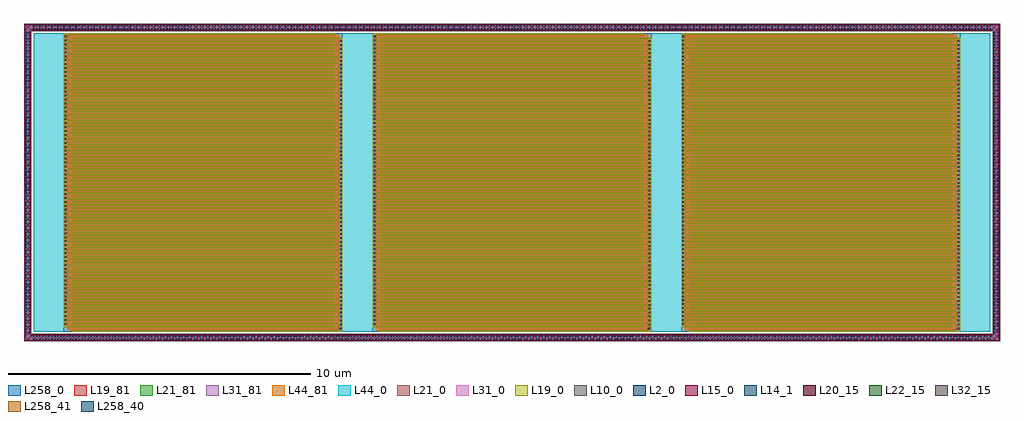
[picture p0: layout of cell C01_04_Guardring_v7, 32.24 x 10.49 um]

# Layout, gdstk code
from math import pi, radians
import gdstk
lib = gdstk.Library(unit=1e-6, precision=1e-09)
def R(c, l, rs):  # rectangles x0, y0, x1, y1
    for r in rs: c.add(gdstk.rectangle(r[:2], r[2:], *l))
def A(c, l, x, y, w, h, nx, ny, dx, dy):  # array of equal rectangles
    R(c, l, [(x+i*dx, y+j*dy, x+i*dx+w, y+j*dy+h) for i in range(nx) for j in range(ny)])
L2_0 = (2, 0)
L10_0 = (10, 0)
L14_1 = (14, 1)
L15_0 = (15, 0)
L19_0 = (19, 0)
L19_81 = (19, 81)
L20_15 = (20, 15)
L21_0 = (21, 0)
L21_81 = (21, 81)
L22_15 = (22, 15)
L31_0 = (31, 0)
L31_81 = (31, 81)
L32_15 = (32, 15)
L44_0 = (44, 0)
L44_81 = (44, 81)
L258_0 = (258, 0)
L258_40 = (258, 40)
L258_41 = (258, 41)

c01_04_guardring_v7_srf_ = lib.new_cell('C01_04_Guardring_v7:SRF_Array:SRF_HDVNCAP:SRF_FingerArray:SRF_FingerPair')
R(c01_04_guardring_v7_srf_, L19_0, [(0.1,-0.15,0.15,8.7), (0,0,0.05,8.85)])
R(c01_04_guardring_v7_srf_, L21_0, [(0.1,-0.15,0.15,8.7), (0,0,0.05,8.85)])
R(c01_04_guardring_v7_srf_, L31_0, [(0.1,-0.15,0.15,8.7), (0,0,0.05,8.85)])
R(c01_04_guardring_v7_srf_, L44_0, [(0.1,-0.15,0.15,8.7), (0,0,0.05,8.85)])

c_c01_04_guardring_v7_srf_ = lib.new_cell('C01_04_Guardring_v7:SRF_Array:SRF_HDVNCAP:SRF_FingerArray')
c_c01_04_guardring_v7_srf_.add(gdstk.Reference(c01_04_guardring_v7_srf_, (0,0)))
c_c01_04_guardring_v7_srf_.add(gdstk.Reference(c01_04_guardring_v7_srf_, (0.2,0)))
c_c01_04_guardring_v7_srf_.add(gdstk.Reference(c01_04_guardring_v7_srf_, (0.4,0)))
c_c01_04_guardring_v7_srf_.add(gdstk.Reference(c01_04_guardring_v7_srf_, (0.6,0)))
c_c01_04_guardring_v7_srf_.add(gdstk.Reference(c01_04_guardring_v7_srf_, (0.8,0)))
c_c01_04_guardring_v7_srf_.add(gdstk.Reference(c01_04_guardring_v7_srf_, (1,0)))
c_c01_04_guardring_v7_srf_.add(gdstk.Reference(c01_04_guardring_v7_srf_, (1.2,0)))
c_c01_04_guardring_v7_srf_.add(gdstk.Reference(c01_04_guardring_v7_srf_, (1.4,0)))
c_c01_04_guardring_v7_srf_.add(gdstk.Reference(c01_04_guardring_v7_srf_, (1.6,0)))
c_c01_04_guardring_v7_srf_.add(gdstk.Reference(c01_04_guardring_v7_srf_, (1.8,0)))
c_c01_04_guardring_v7_srf_.add(gdstk.Reference(c01_04_guardring_v7_srf_, (2,0)))
c_c01_04_guardring_v7_srf_.add(gdstk.Reference(c01_04_guardring_v7_srf_, (2.2,0)))
c_c01_04_guardring_v7_srf_.add(gdstk.Reference(c01_04_guardring_v7_srf_, (2.4,0)))
c_c01_04_guardring_v7_srf_.add(gdstk.Reference(c01_04_guardring_v7_srf_, (2.6,0)))
c_c01_04_guardring_v7_srf_.add(gdstk.Reference(c01_04_guardring_v7_srf_, (2.8,0)))
c_c01_04_guardring_v7_srf_.add(gdstk.Reference(c01_04_guardring_v7_srf_, (3,0)))
c_c01_04_guardring_v7_srf_.add(gdstk.Reference(c01_04_guardring_v7_srf_, (3.2,0)))
c_c01_04_guardring_v7_srf_.add(gdstk.Reference(c01_04_guardring_v7_srf_, (3.4,0)))
c_c01_04_guardring_v7_srf_.add(gdstk.Reference(c01_04_guardring_v7_srf_, (3.6,0)))
c_c01_04_guardring_v7_srf_.add(gdstk.Reference(c01_04_guardring_v7_srf_, (3.8,0)))
c_c01_04_guardring_v7_srf_.add(gdstk.Reference(c01_04_guardring_v7_srf_, (4,0)))
c_c01_04_guardring_v7_srf_.add(gdstk.Reference(c01_04_guardring_v7_srf_, (4.2,0)))
c_c01_04_guardring_v7_srf_.add(gdstk.Reference(c01_04_guardring_v7_srf_, (4.4,0)))
c_c01_04_guardring_v7_srf_.add(gdstk.Reference(c01_04_guardring_v7_srf_, (4.6,0)))
c_c01_04_guardring_v7_srf_.add(gdstk.Reference(c01_04_guardring_v7_srf_, (4.8,0)))
c_c01_04_guardring_v7_srf_.add(gdstk.Reference(c01_04_guardring_v7_srf_, (5,0)))
c_c01_04_guardring_v7_srf_.add(gdstk.Reference(c01_04_guardring_v7_srf_, (5.2,0)))
c_c01_04_guardring_v7_srf_.add(gdstk.Reference(c01_04_guardring_v7_srf_, (5.4,0)))
c_c01_04_guardring_v7_srf_.add(gdstk.Reference(c01_04_guardring_v7_srf_, (5.6,0)))
c_c01_04_guardring_v7_srf_.add(gdstk.Reference(c01_04_guardring_v7_srf_, (5.8,0)))
c_c01_04_guardring_v7_srf_.add(gdstk.Reference(c01_04_guardring_v7_srf_, (6,0)))
c_c01_04_guardring_v7_srf_.add(gdstk.Reference(c01_04_guardring_v7_srf_, (6.2,0)))
c_c01_04_guardring_v7_srf_.add(gdstk.Reference(c01_04_guardring_v7_srf_, (6.4,0)))
c_c01_04_guardring_v7_srf_.add(gdstk.Reference(c01_04_guardring_v7_srf_, (6.6,0)))
c_c01_04_guardring_v7_srf_.add(gdstk.Reference(c01_04_guardring_v7_srf_, (6.8,0)))
c_c01_04_guardring_v7_srf_.add(gdstk.Reference(c01_04_guardring_v7_srf_, (7,0)))
c_c01_04_guardring_v7_srf_.add(gdstk.Reference(c01_04_guardring_v7_srf_, (7.2,0)))
c_c01_04_guardring_v7_srf_.add(gdstk.Reference(c01_04_guardring_v7_srf_, (7.4,0)))
c_c01_04_guardring_v7_srf_.add(gdstk.Reference(c01_04_guardring_v7_srf_, (7.6,0)))
c_c01_04_guardring_v7_srf_.add(gdstk.Reference(c01_04_guardring_v7_srf_, (7.8,0)))
c_c01_04_guardring_v7_srf_.add(gdstk.Reference(c01_04_guardring_v7_srf_, (8,0)))
c_c01_04_guardring_v7_srf_.add(gdstk.Reference(c01_04_guardring_v7_srf_, (8.2,0)))
c_c01_04_guardring_v7_srf_.add(gdstk.Reference(c01_04_guardring_v7_srf_, (8.4,0)))
c_c01_04_guardring_v7_srf_.add(gdstk.Reference(c01_04_guardring_v7_srf_, (8.6,0)))
c_c01_04_guardring_v7_srf_.add(gdstk.Reference(c01_04_guardring_v7_srf_, (8.8,0)))
c_c01_04_guardring_v7_srf_.add(gdstk.Reference(c01_04_guardring_v7_srf_, (9,0)))
c_c01_04_guardring_v7_srf_.add(gdstk.Reference(c01_04_guardring_v7_srf_, (9.2,0)))
c_c01_04_guardring_v7_srf_.add(gdstk.Reference(c01_04_guardring_v7_srf_, (9.4,0)))

c_c01_04_guardring_v7_srf__ = lib.new_cell('C01_04_Guardring_v7:SRF_Array:SRF_HDVNCAP:SRF_Via0_PortA_Hrz:SRF_ViaM3M4')
R(c_c01_04_guardring_v7_srf__, L19_0, [(-0.032,0,9.572,0.05)])
A(c_c01_04_guardring_v7_srf__, L20_15, 0, 0, 0.05, 0.05, 74, 1, 0.13, 0)
R(c_c01_04_guardring_v7_srf__, L21_0, [(-0.032,0,9.572,0.05)])

c_c01_04_guardring_v7_srf___ = lib.new_cell('C01_04_Guardring_v7:SRF_Array:SRF_HDVNCAP:SRF_Via0_PortA_Hrz')
c_c01_04_guardring_v7_srf___.add(gdstk.Reference(c_c01_04_guardring_v7_srf__, (-4.77,-0.025)))

c_c01_04_guardring_v7_srf____ = lib.new_cell('C01_04_Guardring_v7:SRF_Array:SRF_HDVNCAP:SRF_Via1_PortA_Hrz:SRF_ViaM4M5')
R(c_c01_04_guardring_v7_srf____, L21_0, [(-0.032,0,9.572,0.05)])
A(c_c01_04_guardring_v7_srf____, L22_15, 0, 0, 0.05, 0.05, 74, 1, 0.13, 0)
R(c_c01_04_guardring_v7_srf____, L31_0, [(-0.032,0,9.572,0.05)])

c_c01_04_guardring_v7_srf_____ = lib.new_cell('C01_04_Guardring_v7:SRF_Array:SRF_HDVNCAP:SRF_Via1_PortA_Hrz')
c_c01_04_guardring_v7_srf_____.add(gdstk.Reference(c_c01_04_guardring_v7_srf____, (-4.77,-0.025)))

c_c01_04_guardring_v7_srf______ = lib.new_cell('C01_04_Guardring_v7:SRF_Array:SRF_HDVNCAP:SRF_Via2_PortA_Hrz:SRF_ViaM5M6')
R(c_c01_04_guardring_v7_srf______, L31_0, [(-0.032,0,9.572,0.05)])
A(c_c01_04_guardring_v7_srf______, L32_15, 0, 0, 0.05, 0.05, 74, 1, 0.13, 0)
R(c_c01_04_guardring_v7_srf______, L44_0, [(-0.032,0,9.572,0.05)])

c_c01_04_guardring_v7_srf_______ = lib.new_cell('C01_04_Guardring_v7:SRF_Array:SRF_HDVNCAP:SRF_Via2_PortA_Hrz')
c_c01_04_guardring_v7_srf_______.add(gdstk.Reference(c_c01_04_guardring_v7_srf______, (-4.77,-0.025)))

c_c01_04_guardring_v7_srf________ = lib.new_cell('C01_04_Guardring_v7:SRF_Array:SRF_HDVNCAP:SRF_Via0_PortB_Hrz:SRF_ViaM3M4')
R(c_c01_04_guardring_v7_srf________, L19_0, [(-0.032,0,9.572,0.05)])
A(c_c01_04_guardring_v7_srf________, L20_15, 0, 0, 0.05, 0.05, 74, 1, 0.13, 0)
R(c_c01_04_guardring_v7_srf________, L21_0, [(-0.032,0,9.572,0.05)])

c_c01_04_guardring_v7_srf_________ = lib.new_cell('C01_04_Guardring_v7:SRF_Array:SRF_HDVNCAP:SRF_Via0_PortB_Hrz')
c_c01_04_guardring_v7_srf_________.add(gdstk.Reference(c_c01_04_guardring_v7_srf________, (-4.77,-0.025)))

c_c01_04_guardring_v7_srf__________ = lib.new_cell('C01_04_Guardring_v7:SRF_Array:SRF_HDVNCAP:SRF_Via1_PortB_Hrz:SRF_ViaM4M5')
R(c_c01_04_guardring_v7_srf__________, L21_0, [(-0.032,0,9.572,0.05)])
A(c_c01_04_guardring_v7_srf__________, L22_15, 0, 0, 0.05, 0.05, 74, 1, 0.13, 0)
R(c_c01_04_guardring_v7_srf__________, L31_0, [(-0.032,0,9.572,0.05)])

c_c01_04_guardring_v7_srf___________ = lib.new_cell('C01_04_Guardring_v7:SRF_Array:SRF_HDVNCAP:SRF_Via1_PortB_Hrz')
c_c01_04_guardring_v7_srf___________.add(gdstk.Reference(c_c01_04_guardring_v7_srf__________, (-4.77,-0.025)))

c_c01_04_guardring_v7_srf____________ = lib.new_cell('C01_04_Guardring_v7:SRF_Array:SRF_HDVNCAP:SRF_Via2_PortB_Hrz:SRF_ViaM5M6')
R(c_c01_04_guardring_v7_srf____________, L31_0, [(-0.032,0,9.572,0.05)])
A(c_c01_04_guardring_v7_srf____________, L32_15, 0, 0, 0.05, 0.05, 74, 1, 0.13, 0)
R(c_c01_04_guardring_v7_srf____________, L44_0, [(-0.032,0,9.572,0.05)])

c_c01_04_guardring_v7_srf_____________ = lib.new_cell('C01_04_Guardring_v7:SRF_Array:SRF_HDVNCAP:SRF_Via2_PortB_Hrz')
c_c01_04_guardring_v7_srf_____________.add(gdstk.Reference(c_c01_04_guardring_v7_srf____________, (-4.77,-0.025)))

c_c01_04_guardring_v7_srf______________ = lib.new_cell('C01_04_Guardring_v7:SRF_Array:SRF_HDVNCAP')
R(c_c01_04_guardring_v7_srf______________, L19_0, [(-0.15,-0.25,9.55,-0.15), (-0.15,-0.25,-0.1,8.7), (9.65,0,9.7,8.95), (0,8.85,9.7,8.95)])
R(c_c01_04_guardring_v7_srf______________, L19_81, [(-0.1,-0.15,9.65,8.85)])
R(c_c01_04_guardring_v7_srf______________, L21_0, [(-0.15,-0.25,9.55,-0.15), (-0.15,-0.25,-0.1,8.7), (9.65,0,9.7,8.95), (0,8.85,9.7,8.95)])
R(c_c01_04_guardring_v7_srf______________, L21_81, [(-0.1,-0.15,9.65,8.85)])
R(c_c01_04_guardring_v7_srf______________, L31_0, [(-0.15,-0.25,9.55,-0.15), (-0.15,-0.25,-0.1,8.7), (9.65,0,9.7,8.95), (0,8.85,9.7,8.95)])
R(c_c01_04_guardring_v7_srf______________, L31_81, [(-0.1,-0.15,9.65,8.85)])
R(c_c01_04_guardring_v7_srf______________, L44_0, [(-0.15,-0.25,9.55,-0.15), (-0.15,-0.25,-0.1,8.7), (9.65,0,9.7,8.95), (0,8.85,9.7,8.95)])
R(c_c01_04_guardring_v7_srf______________, L44_81, [(-0.1,-0.15,9.65,8.85)])
R(c_c01_04_guardring_v7_srf______________, L258_0, [(-0.15,-0.25,9.7,8.95)])
A(c_c01_04_guardring_v7_srf______________, L258_40, -0.09, -0.15, 0.01, 0.01, 3, 1, 0.02, 0)
A(c_c01_04_guardring_v7_srf______________, L258_41, 9.57, 8.84, 0.01, 0.01, 4, 1, 0.02, 0)
c_c01_04_guardring_v7_srf______________.add(gdstk.Reference(c_c01_04_guardring_v7_srf_, (0,0)))
c_c01_04_guardring_v7_srf______________.add(gdstk.Reference(c_c01_04_guardring_v7_srf___, (4.85,8.9)))
c_c01_04_guardring_v7_srf______________.add(gdstk.Reference(c_c01_04_guardring_v7_srf_____, (4.85,8.9)))
c_c01_04_guardring_v7_srf______________.add(gdstk.Reference(c_c01_04_guardring_v7_srf_______, (4.85,8.9)))
c_c01_04_guardring_v7_srf______________.add(gdstk.Reference(c_c01_04_guardring_v7_srf_________, (4.7,-0.2)))
c_c01_04_guardring_v7_srf______________.add(gdstk.Reference(c_c01_04_guardring_v7_srf___________, (4.7,-0.2)))
c_c01_04_guardring_v7_srf______________.add(gdstk.Reference(c_c01_04_guardring_v7_srf_____________, (4.7,-0.2)))

c_c01_04_guardring_v7_srf_______________ = lib.new_cell('C01_04_Guardring_v7:SRF_Array')
A(c_c01_04_guardring_v7_srf_______________, L44_0, 0, 0, 1, 9.85, 4, 1, 10.2, 0)
c_c01_04_guardring_v7_srf_______________.add(gdstk.Reference(c_c01_04_guardring_v7_srf______________, (9.95,0.15), rotation=pi/2))
c_c01_04_guardring_v7_srf_______________.add(gdstk.Reference(c_c01_04_guardring_v7_srf______________, (20.15,0.15), rotation=pi/2))
c_c01_04_guardring_v7_srf_______________.add(gdstk.Reference(c_c01_04_guardring_v7_srf______________, (30.35,0.15), rotation=pi/2))

c01_04_guardring_v7__pbo = lib.new_cell('C01_04_Guardring_v7:_Pbodyring:SRF_PbodyTop:SRF_PbodyContactPhyLen')
R(c01_04_guardring_v7__pbo, L2_0, [(-0.08,-0.13,31.72,0.07)])
R(c01_04_guardring_v7__pbo, L10_0, [(-0.101,-0.151,31.741,0.091)])
A(c01_04_guardring_v7__pbo, L14_1, 0, -0.1, 0.04, 0.04, 317, 2, 0.1, 0.1)
R(c01_04_guardring_v7__pbo, L15_0, [(-0.08,-0.13,31.72,0.07)])

c_c01_04_guardring_v7__pbo = lib.new_cell('C01_04_Guardring_v7:_Pbodyring:SRF_PbodyTop')
c_c01_04_guardring_v7__pbo.add(gdstk.Reference(c01_04_guardring_v7__pbo, (0,0)))

c_c01_04_guardring_v7__pbo_ = lib.new_cell('C01_04_Guardring_v7:_Pbodyring:SRF_PbodyBottom:SRF_PbodyContactPhyLen')
R(c_c01_04_guardring_v7__pbo_, L2_0, [(-0.08,-0.13,31.72,0.07)])
R(c_c01_04_guardring_v7__pbo_, L10_0, [(-0.101,-0.151,31.741,0.091)])
A(c_c01_04_guardring_v7__pbo_, L14_1, 0, -0.1, 0.04, 0.04, 317, 2, 0.1, 0.1)
R(c_c01_04_guardring_v7__pbo_, L15_0, [(-0.08,-0.13,31.72,0.07)])

c_c01_04_guardring_v7__pbo__ = lib.new_cell('C01_04_Guardring_v7:_Pbodyring:SRF_PbodyBottom')
c_c01_04_guardring_v7__pbo__.add(gdstk.Reference(c_c01_04_guardring_v7__pbo_, (0,0)))

c_c01_04_guardring_v7__pbo___ = lib.new_cell('C01_04_Guardring_v7:_Pbodyring:SRF_PbodyLeft:SRF_PbodyContactPhyLen')
R(c_c01_04_guardring_v7__pbo___, L2_0, [(-0.03,-9.955,0.17,0.095)])
R(c_c01_04_guardring_v7__pbo___, L10_0, [(-0.051,-9.976,0.191,0.116)])
A(c_c01_04_guardring_v7__pbo___, L14_1, 0, -9.9, 0.04, 0.04, 1, 100, 0, 0.1)
A(c_c01_04_guardring_v7__pbo___, L14_1, 0.1, -9.9, 0.04, 0.04, 1, 100, 0, 0.1)
R(c_c01_04_guardring_v7__pbo___, L15_0, [(-0.03,-9.955,0.17,0.095)])

c_c01_04_guardring_v7__pbo____ = lib.new_cell('C01_04_Guardring_v7:_Pbodyring:SRF_PbodyLeft')
c_c01_04_guardring_v7__pbo____.add(gdstk.Reference(c_c01_04_guardring_v7__pbo___, (0,0)))

c_c01_04_guardring_v7__pbo_____ = lib.new_cell('C01_04_Guardring_v7:_Pbodyring:SRF_PbodyRight:SRF_PbodyContactPhyLen')
R(c_c01_04_guardring_v7__pbo_____, L2_0, [(-0.03,-9.955,0.17,0.095)])
R(c_c01_04_guardring_v7__pbo_____, L10_0, [(-0.051,-9.976,0.191,0.116)])
A(c_c01_04_guardring_v7__pbo_____, L14_1, 0, -9.9, 0.04, 0.04, 1, 100, 0, 0.1)
A(c_c01_04_guardring_v7__pbo_____, L14_1, 0.1, -9.9, 0.04, 0.04, 1, 100, 0, 0.1)
R(c_c01_04_guardring_v7__pbo_____, L15_0, [(-0.03,-9.955,0.17,0.095)])

c_c01_04_guardring_v7__pbo______ = lib.new_cell('C01_04_Guardring_v7:_Pbodyring:SRF_PbodyRight')
c_c01_04_guardring_v7__pbo______.add(gdstk.Reference(c_c01_04_guardring_v7__pbo_____, (0,0)))

c_c01_04_guardring_v7__pbo_______ = lib.new_cell('C01_04_Guardring_v7:_Pbodyring')
R(c_c01_04_guardring_v7__pbo_______, L2_0, [(-0.28,-10.38,31.92,-10.18), (-0.28,-10.38,-0.08,0.07), (31.72,-10.38,31.92,0.07), (-0.28,-0.13,31.92,0.07)])
R(c_c01_04_guardring_v7__pbo_______, L10_0, [(-0.301,-10.401,31.941,-10.159), (-0.301,-10.401,-0.059,0.091), (31.699,-10.401,31.941,0.091), (-0.301,-0.151,31.941,0.091)])
R(c_c01_04_guardring_v7__pbo_______, L15_0, [(-0.28,-10.38,31.92,-10.18), (-0.28,-10.38,-0.08,0.07), (31.72,-10.38,31.92,0.07), (-0.28,-0.13,31.92,0.07)])
c_c01_04_guardring_v7__pbo_______.add(gdstk.Reference(c_c01_04_guardring_v7__pbo, (0,0)))
c_c01_04_guardring_v7__pbo_______.add(gdstk.Reference(c_c01_04_guardring_v7__pbo__, (0,-10.25)))
c_c01_04_guardring_v7__pbo_______.add(gdstk.Reference(c_c01_04_guardring_v7__pbo____, (-0.25,-0.225)))
c_c01_04_guardring_v7__pbo_______.add(gdstk.Reference(c_c01_04_guardring_v7__pbo______, (31.75,-0.225)))

c01_04_guardring_v7 = lib.new_cell('C01_04_Guardring_v7')
c01_04_guardring_v7.add(gdstk.Reference(c_c01_04_guardring_v7_srf_______________, (0,0)))
c01_04_guardring_v7.add(gdstk.Reference(c_c01_04_guardring_v7__pbo_______, (-0.02,10.08)))

lib.write_gds('C01_04_Guardring_v7.gds')
